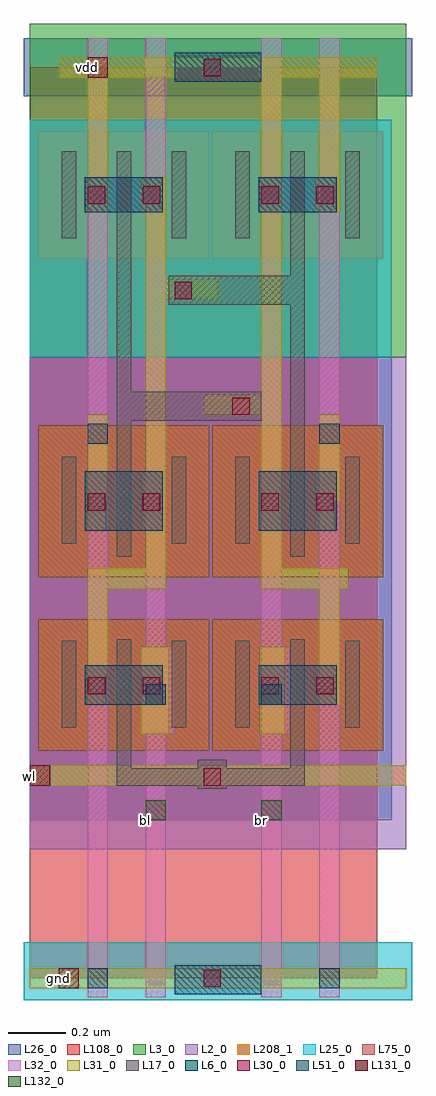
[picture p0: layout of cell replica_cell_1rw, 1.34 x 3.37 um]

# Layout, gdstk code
from math import pi, radians
import gdstk
lib = gdstk.Library(unit=1e-6, precision=1e-09)
def R(c, l, rs):  # rectangles x0, y0, x1, y1
    for r in rs: c.add(gdstk.rectangle(r[:2], r[2:], *l))
L2_0 = (2, 0)
L3_0 = (3, 0)
L6_0 = (6, 0)
L17_0 = (17, 0)
L25_0 = (25, 0)
L26_0 = (26, 0)
L30_0 = (30, 0)
L31_0 = (31, 0)
L32_0 = (32, 0)
L51_0 = (51, 0)
L75_0 = (75, 0)
L108_0 = (108, 0)
L131_0 = (131, 0)
L132_0 = (132, 0)
L208_1 = (208, 1)

nch_mac_cdns_72143490065 = lib.new_cell('nch_mac_CDNS_721434900650')
R(nch_mac_cdns_72143490065, L6_0, [(-0.11,0,0,0.205), (0,0,0.05,0.205), (0.05,0,0.16,0.205)])
R(nch_mac_cdns_72143490065, L17_0, [(0,-0.09,0.05,0), (-0.19,-0.045,-0.14,0.255), (0.19,-0.045,0.24,0.255), (0,0,0.05,0.205), (0,0.205,0.05,0.295)])
R(nch_mac_cdns_72143490065, L26_0, [(-0.3,-0.2,-0.24,0.405), (-0.24,-0.2,0.29,0.405), (0.29,-0.2,0.35,0.405)])
R(nch_mac_cdns_72143490065, L30_0, [(-0.1,0.07,-0.04,0.13), (0.09,0.07,0.15,0.13)])
R(nch_mac_cdns_72143490065, L31_0, [(-0.105,0,-0.035,0.205), (0.085,0,0.155,0.205)])
R(nch_mac_cdns_72143490065, L75_0, [(-0.27,-0.16,0.32,0.365)])
R(nch_mac_cdns_72143490065, L208_1, [(-0.27,-0.16,0.32,0.365)])
nch_mac_cdns_72143490065.add(gdstk.Label('& SerialNumber 000000', (0,0), layer=63, texttype=63))
nch_mac_cdns_72143490065.add(gdstk.Label('& Distributor TSMC', (0,0), layer=63, texttype=63))
nch_mac_cdns_72143490065.add(gdstk.Label('& Metric 1', (0,0), layer=63, texttype=63))
nch_mac_cdns_72143490065.add(gdstk.Label('& PDK Version "tsmcN40_CRN40ULP_v1.5_2b_20200409"', (0,0), layer=63, texttype=63))
nch_mac_cdns_72143490065.add(gdstk.Label('& PDK TechNode "CRN40ULP"', (0,0), layer=63, texttype=63))
nch_mac_cdns_72143490065.add(gdstk.Label('& Product    tsmcN40_PDK', (0,0), layer=63, texttype=63))
nch_mac_cdns_72143490065.add(gdstk.Label('& Vendor     Taiwan Semiconductor manufacturing Corp.', (0,0), layer=63, texttype=63))
nch_mac_cdns_72143490065.add(gdstk.Label('[@instanceName]', (0.025,0.102), layer=127, texttype=0))
nch_mac_cdns_72143490065.add(gdstk.Label('0.205/0.05', (0,0), layer=127, texttype=0))
nch_mac_cdns_72143490065.add(gdstk.Label('nch_mac', (0,0.045), layer=127, texttype=0))
nch_mac_cdns_72143490065.add(gdstk.Label('D', (0.12,0.102), layer=127, texttype=0))
nch_mac_cdns_72143490065.add(gdstk.Label('S', (-0.07,0.102), layer=127, texttype=0))

c_nch_mac_cdns_72143490065 = lib.new_cell('nch_mac_CDNS_721434900651')
R(c_nch_mac_cdns_72143490065, L6_0, [(-0.11,0,0,0.135), (0,0,0.05,0.135), (0.05,0,0.16,0.135)])
R(c_nch_mac_cdns_72143490065, L17_0, [(0,-0.09,0.05,0), (-0.19,-0.08,-0.14,0.22), (0.19,-0.08,0.24,0.22), (0,0,0.05,0.135), (0,0.135,0.05,0.225)])
R(c_nch_mac_cdns_72143490065, L26_0, [(-0.3,-0.2,-0.24,0.335), (-0.24,-0.2,0.29,0.335), (0.29,-0.2,0.35,0.335)])
R(c_nch_mac_cdns_72143490065, L30_0, [(-0.1,0.035,-0.04,0.095), (0.09,0.035,0.15,0.095)])
R(c_nch_mac_cdns_72143490065, L31_0, [(-0.105,0,-0.035,0.135), (0.085,0,0.155,0.135)])
R(c_nch_mac_cdns_72143490065, L75_0, [(-0.27,-0.16,0.32,0.295)])
R(c_nch_mac_cdns_72143490065, L208_1, [(-0.27,-0.16,0.32,0.295)])
c_nch_mac_cdns_72143490065.add(gdstk.Label('& SerialNumber 000000', (0,0), layer=63, texttype=63))
c_nch_mac_cdns_72143490065.add(gdstk.Label('& Distributor TSMC', (0,0), layer=63, texttype=63))
c_nch_mac_cdns_72143490065.add(gdstk.Label('& Metric 1', (0,0), layer=63, texttype=63))
c_nch_mac_cdns_72143490065.add(gdstk.Label('& PDK Version "tsmcN40_CRN40ULP_v1.5_2b_20200409"', (0,0), layer=63, texttype=63))
c_nch_mac_cdns_72143490065.add(gdstk.Label('& PDK TechNode "CRN40ULP"', (0,0), layer=63, texttype=63))
c_nch_mac_cdns_72143490065.add(gdstk.Label('& Product    tsmcN40_PDK', (0,0), layer=63, texttype=63))
c_nch_mac_cdns_72143490065.add(gdstk.Label('& Vendor     Taiwan Semiconductor manufacturing Corp.', (0,0), layer=63, texttype=63))
c_nch_mac_cdns_72143490065.add(gdstk.Label('[@instanceName]', (0.025,0.067), layer=127, texttype=0))
c_nch_mac_cdns_72143490065.add(gdstk.Label('0.135/0.05', (0,0), layer=127, texttype=0))
c_nch_mac_cdns_72143490065.add(gdstk.Label('nch_mac', (0,0.045), layer=127, texttype=0))
c_nch_mac_cdns_72143490065.add(gdstk.Label('D', (0.12,0.067), layer=127, texttype=0))
c_nch_mac_cdns_72143490065.add(gdstk.Label('S', (-0.07,0.067), layer=127, texttype=0))

pch_mac_cdns_72143490065 = lib.new_cell('pch_mac_CDNS_721434900652')
R(pch_mac_cdns_72143490065, L3_0, [(-0.27,-0.16,0.32,0.28)])
R(pch_mac_cdns_72143490065, L6_0, [(-0.11,0,0,0.12), (0,0,0.05,0.12), (0.05,0,0.16,0.12)])
R(pch_mac_cdns_72143490065, L17_0, [(-0.19,-0.09,-0.14,0.21), (0,-0.09,0.05,0), (0.19,-0.09,0.24,0.21), (0,0,0.05,0.12), (0,0.12,0.05,0.21)])
R(pch_mac_cdns_72143490065, L25_0, [(-0.3,-0.2,-0.24,0.32), (-0.24,-0.2,0.29,0.32), (0.29,-0.2,0.35,0.32)])
R(pch_mac_cdns_72143490065, L30_0, [(-0.1,0.03,-0.04,0.09), (0.09,0.03,0.15,0.09)])
R(pch_mac_cdns_72143490065, L31_0, [(-0.105,0,-0.035,0.12), (0.085,0,0.155,0.12)])
R(pch_mac_cdns_72143490065, L208_1, [(-0.27,-0.16,0.32,0.28)])
pch_mac_cdns_72143490065.add(gdstk.Label('& SerialNumber 000000', (0,0), layer=63, texttype=63))
pch_mac_cdns_72143490065.add(gdstk.Label('& Distributor TSMC', (0,0), layer=63, texttype=63))
pch_mac_cdns_72143490065.add(gdstk.Label('& Metric 1', (0,0), layer=63, texttype=63))
pch_mac_cdns_72143490065.add(gdstk.Label('& PDK Version "tsmcN40_CRN40ULP_v1.5_2b_20200409"', (0,0), layer=63, texttype=63))
pch_mac_cdns_72143490065.add(gdstk.Label('& PDK TechNode "CRN40ULP"', (0,0), layer=63, texttype=63))
pch_mac_cdns_72143490065.add(gdstk.Label('& Product    tsmcN40_PDK', (0,0), layer=63, texttype=63))
pch_mac_cdns_72143490065.add(gdstk.Label('& Vendor     Taiwan Semiconductor manufacturing Corp.', (0,0), layer=63, texttype=63))
pch_mac_cdns_72143490065.add(gdstk.Label('[@instanceName]', (0.025,0.06), layer=127, texttype=0))
pch_mac_cdns_72143490065.add(gdstk.Label('0.12/0.05', (0,0), layer=127, texttype=0))
pch_mac_cdns_72143490065.add(gdstk.Label('pch_mac', (0,0.045), layer=127, texttype=0))
pch_mac_cdns_72143490065.add(gdstk.Label('D', (0.12,0.06), layer=127, texttype=0))
pch_mac_cdns_72143490065.add(gdstk.Label('S', (-0.07,0.06), layer=127, texttype=0))

replica_cell_1rw = lib.new_cell('replica_cell_1rw')
R(replica_cell_1rw, L2_0, [(0,0.445,1.3,2.145)])
R(replica_cell_1rw, L3_0, [(0,2.145,1.3,3.025), (0,2.545,1.3,3.295)])
R(replica_cell_1rw, L6_0, [(0.5,-0.055,0.8,0.045), (0.5,3.095,0.8,3.195)])
R(replica_cell_1rw, L17_0, [(0.58,0.655,0.68,0.755), (0.3,0.665,0.35,0.945), (0.3,0.665,0.95,0.725), (0.9,0.665,0.95,0.945), (0.3,1.745,0.35,2.645), (0.9,1.745,0.95,2.645), (0.3,1.925,0.8,2.025), (0.48,2.325,0.9,2.425)])
R(replica_cell_1rw, L25_0, [(-0.02,-0.075,1.32,0.125), (0,2.145,1.25,2.945)])
R(replica_cell_1rw, L26_0, [(0,0.545,1.25,0.745), (0,0.745,1.25,2.145), (-0.02,3.045,1.32,3.245)])
R(replica_cell_1rw, L30_0, [(0.6,-0.03,0.66,0.03), (0.6,0.665,0.66,0.725), (0.7,1.945,0.76,2.005), (0.5,2.345,0.56,2.405), (0.6,3.115,0.66,3.175)])
R(replica_cell_1rw, L31_0, [(0,-0.035,1.3,0.035), (0,0.665,1.3,0.735), (0.385,0.845,0.48,1.145), (0.795,0.845,0.88,1.145), (1,0.945,1.07,1.345), (0.2,1.045,0.27,1.345), (0.2,1.345,0.45,1.415), (0.4,1.345,0.47,2.765), (0.8,1.345,1.1,1.415), (0.8,1.345,0.87,3.145), (0.2,1.645,0.27,1.945), (1,1.645,1.07,1.945), (0.6,1.945,0.85,2.015), (0.4,2.345,0.65,2.415), (0.2,2.645,0.27,3.145), (1,2.645,1.07,3.145), (0.1,3.11,1.2,3.18)])
R(replica_cell_1rw, L32_0, [(0.2,0.345,0.27,3.245), (0.4,0.345,0.47,3.245), (0.8,0.345,0.87,3.245), (1,0.345,1.07,3.245), (0.385,0.845,0.5,1.145), (0.8,0.845,0.9,1.145)])
R(replica_cell_1rw, L51_0, [(0.2,-0.035,0.27,0.035), (1,-0.035,1.07,0.035), (0.4,0.945,0.47,1.015), (0.8,0.945,0.87,1.015), (0.2,1.845,0.27,1.915), (1,1.845,1.07,1.915)])
R(replica_cell_1rw, L108_0, [(0,0,1.2,3.145)])
R(replica_cell_1rw, L131_0, [(0.1,-0.035,0.17,0.035), (0,0.665,0.07,0.735), (0.2,3.11,0.27,3.18)])
R(replica_cell_1rw, L132_0, [(0.4,0.545,0.47,0.615), (0.8,0.545,0.87,0.615)])
replica_cell_1rw.add(gdstk.FlexPath([(1.035,0.345),(1.035,-0.065)], 0.07, ends="flush", simple_path=True, layer=32, datatype=0))  # L32_0
replica_cell_1rw.add(gdstk.FlexPath([(0.835,0.345),(0.835,-0.065)], 0.07, ends="flush", simple_path=True, layer=32, datatype=0))  # L32_0
replica_cell_1rw.add(gdstk.FlexPath([(0.435,0.345),(0.435,-0.065)], 0.07, ends="flush", simple_path=True, layer=32, datatype=0))  # L32_0
replica_cell_1rw.add(gdstk.FlexPath([(0.235,0.345),(0.235,-0.065)], 0.07, ends="flush", simple_path=True, layer=32, datatype=0))  # L32_0
replica_cell_1rw.add(gdstk.Reference(nch_mac_cdns_72143490065, (0.3,1.545)))
replica_cell_1rw.add(gdstk.Reference(nch_mac_cdns_72143490065, (0.95,1.545), rotation=pi, x_reflection=True))
replica_cell_1rw.add(gdstk.Reference(c_nch_mac_cdns_72143490065, (0.3,0.945)))
replica_cell_1rw.add(gdstk.Reference(c_nch_mac_cdns_72143490065, (0.3,0.945)))
replica_cell_1rw.add(gdstk.Reference(c_nch_mac_cdns_72143490065, (0.95,0.945), rotation=pi, x_reflection=True))
replica_cell_1rw.add(gdstk.Reference(pch_mac_cdns_72143490065, (0.3,2.645)))
replica_cell_1rw.add(gdstk.Reference(pch_mac_cdns_72143490065, (0.95,2.645), rotation=pi, x_reflection=True))
replica_cell_1rw.add(gdstk.Label('vdd', (0.2,3.145), layer=131, texttype=0))
replica_cell_1rw.add(gdstk.Label('wl', (0,0.695), layer=131, texttype=0))
replica_cell_1rw.add(gdstk.Label('gnd', (0.1,0), layer=131, texttype=0))
replica_cell_1rw.add(gdstk.Label('bl', (0.4,0.545), layer=132, texttype=0))
replica_cell_1rw.add(gdstk.Label('br', (0.8,0.545), layer=132, texttype=0))

lib.write_gds('replica_cell_1rw.gds')
